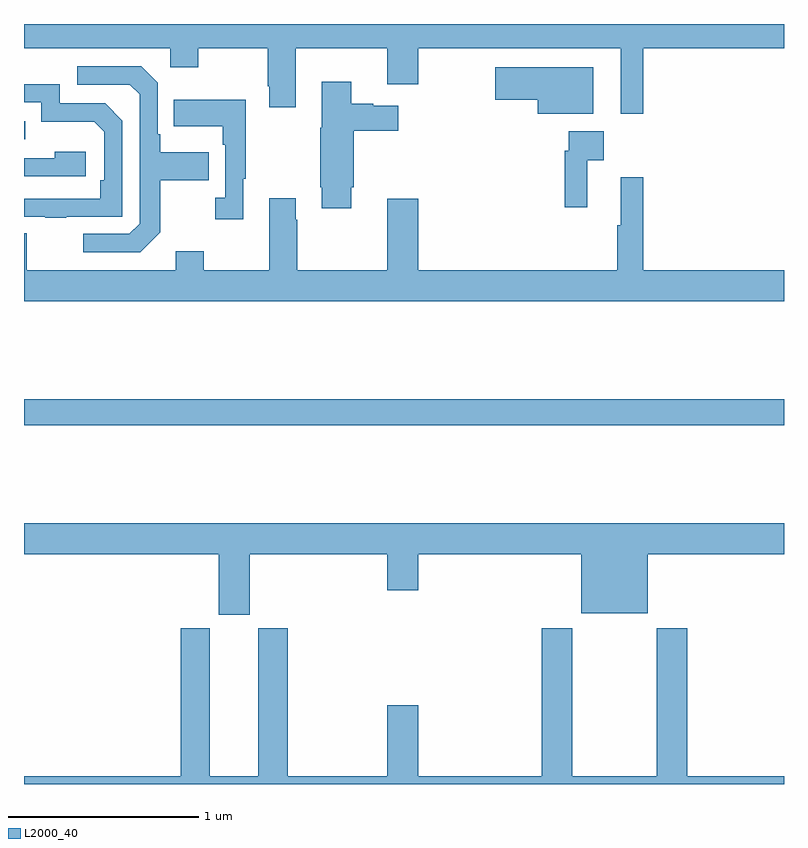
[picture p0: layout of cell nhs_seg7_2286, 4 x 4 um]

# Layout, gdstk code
import gdstk
lib = gdstk.Library(unit=1e-6, precision=1e-09)
def R(c, l, rs):  # rectangles x0, y0, x1, y1
    for r in rs: c.add(gdstk.rectangle(r[:2], r[2:], *l))
def P(c, l, *ps):  # polygons
    for p in ps: c.add(gdstk.Polygon(p, *l))
L2000_40 = (2000, 40)

nhs_seg7_2286 = lib.new_cell('nhs_seg7_2286')
R(nhs_seg7_2286, L2000_40, [(259,1075.888,263,1076.024), (259,1077.393,259.007,1077.489)])
P(nhs_seg7_2286, L2000_40, [(262.259,1077.872),(263,1077.872),(263,1078),(259,1078),(259,1077.872),(259.77,1077.872),(259.77,1077.773),(259.916,1077.773),(259.916,1077.872),(260.284,1077.872),(260.284,1077.673),(260.291,1077.673),(260.291,1077.561),(260.431,1077.561),(260.431,1077.872),(260.912,1077.872),(260.912,1077.684),(261.076,1077.684),(261.076,1077.872),(262.142,1077.872),(262.142,1077.528),(262.259,1077.528)],
  [(259.717,1076.905),(259.717,1077.178),(259.973,1077.178),(259.973,1077.325),(259.717,1077.325),(259.717,1077.421),(259.704,1077.421),(259.704,1077.69),(259.617,1077.777),(259.281,1077.777),(259.281,1077.681),(259.557,1077.681),(259.608,1077.63),(259.608,1076.949),(259.554,1076.895),(259.311,1076.895),(259.311,1076.799),(259.611,1076.799)],
  [(261.997,1077.772),(261.48,1077.772),(261.48,1077.602),(261.704,1077.602),(261.704,1077.527),(261.997,1077.527)],
  [(260.722,1077.142),(260.735,1077.142),(260.735,1077.437),(260.971,1077.437),(260.971,1077.571),(260.838,1077.571),(260.838,1077.579),(260.722,1077.579),(260.722,1077.697),(260.567,1077.697),(260.567,1077.453),(260.56,1077.453),(260.56,1077.142),(260.567,1077.142),(260.567,1077.03),(260.722,1077.03)],
  [(259.223,1076.985),(259.518,1076.985),(259.518,1077.492),(259.428,1077.582),(259.188,1077.582),(259.188,1077.684),(259,1077.684),(259,1077.588),(259.092,1077.588),(259.092,1077.485),(259.369,1077.485),(259.422,1077.432),(259.422,1077.178),(259.402,1077.178),(259.402,1077.081),(259,1077.081),(259,1076.985),(259.111,1076.985),(259.111,1076.98),(259.223,1076.98)],
  [(260.155,1077.185),(260.166,1077.185),(260.166,1077.601),(259.789,1077.601),(259.789,1077.461),(260.046,1077.461),(260.046,1077.365),(260.058,1077.365),(260.058,1077.086),(260.007,1077.086),(260.007,1076.973),(260.155,1076.973)],
  [(261.965,1077.284),(262.051,1077.284),(262.051,1077.436),(261.867,1077.436),(261.867,1077.332),(261.847,1077.332),(261.847,1077.036),(261.965,1077.036)],
  [(259.324,1077.328),(259.163,1077.328),(259.163,1077.294),(259,1077.294),(259,1077.198),(259.324,1077.198)],
  [(263,1076.704),(262.259,1076.704),(262.259,1077.193),(262.142,1077.193),(262.142,1076.94),(262.123,1076.94),(262.123,1076.704),(261.076,1076.704),(261.076,1077.079),(260.912,1077.079),(260.912,1076.704),(260.439,1076.704),(260.439,1076.969),(260.431,1076.969),(260.431,1077.082),(260.291,1077.082),(260.291,1076.704),(259.947,1076.704),(259.947,1076.803),(259.799,1076.803),(259.799,1076.704),(259.015,1076.704),(259.015,1076.899),(259,1076.899),(259,1076.54),(263,1076.54)],
  [(260.188,1075.208),(260.912,1075.208),(260.912,1075.02),(261.076,1075.02),(261.076,1075.208),(261.932,1075.208),(261.932,1074.899),(262.282,1074.899),(262.282,1075.208),(263,1075.208),(263,1075.372),(259,1075.372),(259,1075.208),(260.024,1075.208),(260.024,1074.891),(260.188,1074.891)],
  [(263,1074.04),(262.49,1074.04),(262.49,1074.82),(262.33,1074.82),(262.33,1074.04),(261.885,1074.04),(261.885,1074.82),(261.725,1074.82),(261.725,1074.04),(261.076,1074.04),(261.076,1074.415),(260.912,1074.415),(260.912,1074.04),(260.387,1074.04),(260.387,1074.819),(260.234,1074.819),(260.234,1074.04),(259.978,1074.04),(259.978,1074.819),(259.826,1074.819),(259.826,1074.04),(259,1074.04),(259,1074),(263,1074)])

lib.write_gds('nhs_seg7_2286.gds')
